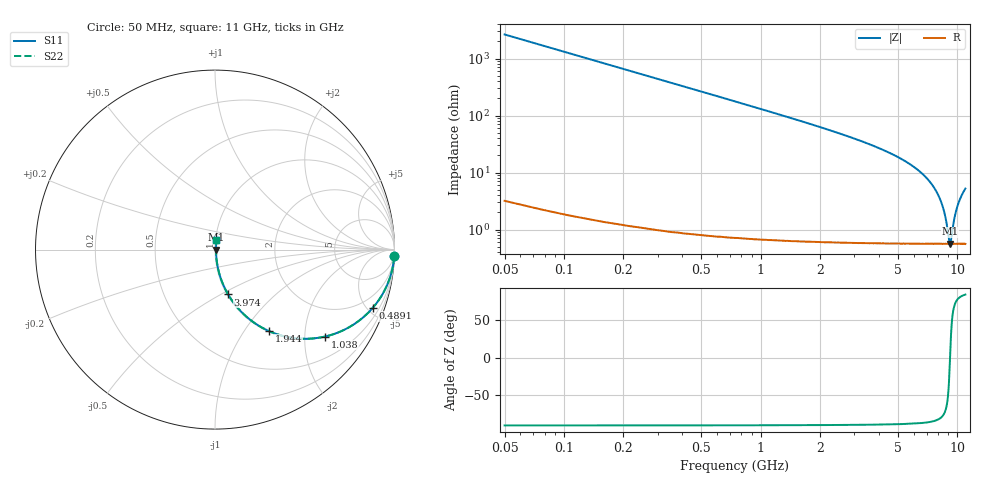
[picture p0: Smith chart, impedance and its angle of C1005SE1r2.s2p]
!	AVX	Thin	Film	Operation
!	Date:	March 2012
!	Description: Ultra-Miniature 01005 Size ACCU - P® Thin Film RF / Microwave Capacitor
!	Part Number:  C005YK1R2ABSTR
!	Serial	Measurements
#	MHz	S	db	R	50
!	S11	S21	S12	S22
!	dB	Phase	dB	Phase	dB	Phase	dB	Phase
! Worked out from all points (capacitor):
!   400 points, 50 MHz to 11 GHz, reference 50 ohm
!   read as one part in series: C = 1.2 pF near 104.9 MHz
!   lowest |Z| = 564 mohm at 9.189 GHz (marker M1)
!   series resonance near 9.189 GHz, so ESL is about 250 pH
!   S11 on the Smith chart (normalised r, x): 50 MHz: 1, -53; 489.1 MHz: 1.02, -5.41; 1.038 GHz: 1.01, -2.52; 1.944 GHz: 1.01, -1.30; 3.974 GHz: 1.01, -0.54; 11 GHz: 1.01, +0.10
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50  -0.01 -2.2  -28.48 87.8  -28.48 87.8  -0.01 -2.2
104.887  -0.03 -4.5  -22.07 85.4  -22.07 85.4  -0.03 -4.5
187.218  -0.09 -8.0  -17.09 81.9  -17.09 81.9  -0.09 -8.0
324.436  -0.26 -13.8  -12.48 76.1  -12.48 76.1  -0.26 -13.8
489.098  -0.56 -20.3  -9.21 69.6  -9.21 69.6  -0.56 -20.3
1037.97  -2.14 -38.3  -4.16 51.4  -4.16 51.4  -2.14 -38.3
1888.722  -5.10 -55.7  -1.66 33.8  -1.66 33.8  -5.10 -55.7
1943.609  -5.29 -56.5  -1.57 32.9  -1.57 32.9  -5.29 -56.5
2684.586  -7.75 -65.1  -0.85 24.2  -0.85 24.2  -7.75 -65.1
3700  -10.87 -72.3  -0.42 16.6  -0.42 16.6  -10.87 -72.3
3974.436  -11.69 -73.7  -0.35 15.1  -0.35 15.1  -11.69 -73.7
5538.722  -16.48 -79.3  -0.15 8.6  -0.15 8.6  -16.48 -79.3
7350  -23.78 -81.3  -0.07 3.7  -0.07 3.7  -23.78 -81.3
7981.203  -27.76 -79.8  -0.06 2.3  -0.06 2.3  -27.76 -79.8
8447.744  -32.11 -75.6  -0.05 1.4  -0.05 1.4  -32.11 -75.6
8749.624  -36.40 -67.5  -0.05 0.8  -0.05 0.8  -36.40 -67.5
9106.391  -44.20 -24.7  -0.05 0.1  -0.05 0.1  -44.20 -24.7
9188.722  -45.04 -0.0  -0.05 0.0  -0.05 0.0  -45.04 -0.0
9627.82  -36.76 66.6  -0.05 -0.8  -0.05 -0.8  -36.76 66.6
9929.699  -32.78 74.6  -0.05 -1.3  -0.05 -1.3  -32.78 74.6
10396.24  -28.89 79.0  -0.05 -2.0  -0.05 -2.0  -28.89 79.0
11000  -25.65 80.9  -0.06 -3.0  -0.06 -3.0  -25.65 80.9
